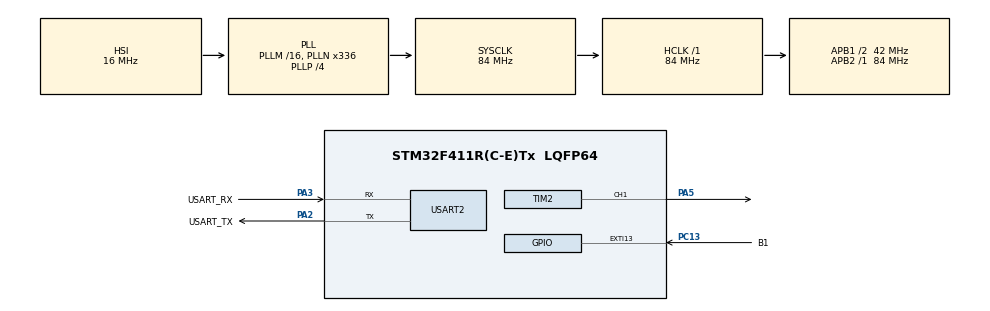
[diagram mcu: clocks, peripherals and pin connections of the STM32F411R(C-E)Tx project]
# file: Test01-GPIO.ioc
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Mcu.Family=STM32F4
Mcu.Name=STM32F411R(C-E)Tx
Mcu.Package=LQFP64
NVIC.EXTI15_10_IRQn=true\:0\:0\:false\:false\:true\:true\:true\:true
NVIC.PriorityGroup=NVIC_PRIORITYGROUP_0
NVIC.TIM3_IRQn=true\:0\:0\:false\:false\:true\:true\:true\:true
PA13.GPIO_Label=TMS
PA13.Mode=Serial_Wire
PA13.Signal=SYS_JTMS-SWDIO
PA14.GPIO_Label=TCK
PA14.Mode=Serial_Wire
PA14.Signal=SYS_JTCK-SWCLK
PA2.GPIO_Label=USART_TX
PA2.Mode=Asynchronous
PA2.Signal=USART2_TX
PA3.GPIO_Label=USART_RX
PA3.Mode=Asynchronous
PA3.Signal=USART2_RX
PA5.Signal=S_TIM2_CH1_ETR
PB3.GPIO_Label=SWO
PB3.Signal=SYS_JTDO-SWO
PC13-ANTI_TAMP.GPIO_Label=B1
PC13-ANTI_TAMP.GPIO_ModeDefaultEXTI=GPIO_MODE_IT_RISING_FALLING
PC13-ANTI_TAMP.Signal=GPXTI13
PC14-OSC32_IN.Mode=LSE-External-Oscillator
PC14-OSC32_IN.Signal=RCC_OSC32_IN
PC15-OSC32_OUT.Mode=LSE-External-Oscillator
PC15-OSC32_OUT.Signal=RCC_OSC32_OUT
PH0\ -\ OSC_IN.Mode=HSE-External-Clock-Source
PH0\ -\ OSC_IN.Signal=RCC_OSC_IN
PH1\ -\ OSC_OUT.Mode=HSE-External-Clock-Source
PH1\ -\ OSC_OUT.Signal=RCC_OSC_OUT
ProjectManager.HeapSize=0x200
ProjectManager.StackSize=0x400
ProjectManager.TargetToolchain=STM32CubeIDE
RCC.48MHZClocksFreq_Value=84000000
RCC.AHBFreq_Value=84000000
RCC.APB1CLKDivider=RCC_HCLK_DIV2
RCC.APB1Freq_Value=42000000
RCC.APB1TimFreq_Value=84000000
RCC.APB2Freq_Value=84000000
RCC.APB2TimFreq_Value=84000000
RCC.CortexFreq_Value=84000000
RCC.FLatency-AdvancedSettings=FLASH_LATENCY_2
RCC.HCLKFreq_Value=84000000
RCC.HSE_VALUE=8000000
RCC.HSI_VALUE=16000000
RCC.PLLN=336
RCC.PLLP=RCC_PLLP_DIV4
RCC.SYSCLKFreq_VALUE=84000000
RCC.SYSCLKSource=RCC_SYSCLKSOURCE_PLLCLK
RCC.VCOOutputFreq_Value=336000000
SH.S_TIM2_CH1_ETR.0=TIM2_CH1,PWM Generation1 CH1
TIM2.Channel-PWM\ Generation1\ CH1=TIM_CHANNEL_1
TIM2.Period=1000-1
TIM2.Prescaler=84-1
TIM3.Period=5000-1
TIM3.Prescaler=8400-1
TIM5.Period=4294967295
TIM5.Prescaler=84-1
USART2.VirtualMode=VM_ASYNC
VP_TIM3_VS_ClockSourceINT.Mode=Internal
VP_TIM5_VS_ClockSourceINT.Mode=Internal
board=NUCLEO-F411RE

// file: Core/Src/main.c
/* USER CODE BEGIN Header */
/**
  ******************************************************************************
  * @file           : main.c
  * @brief          : Main program body
  ******************************************************************************
  * @attention
  *
  * Copyright (c) 2023 STMicroelectronics.
  * All rights reserved.
  *
  * This software is licensed under terms that can be found in the LICENSE file
  * in the root directory of this software component.
  * If no LICENSE file comes with this software, it is provided AS-IS.
  *
  ******************************************************************************
  */
/* USER CODE END Header */
#include "main.h"

TIM_HandleTypeDef htim2;
TIM_HandleTypeDef htim3;
TIM_HandleTypeDef htim5;

UART_HandleTypeDef huart2;

void SystemClock_Config(void);
static void MX_GPIO_Init(void);
static void MX_USART2_UART_Init(void);
static void MX_TIM3_Init(void);
static void MX_TIM5_Init(void);
static void MX_TIM2_Init(void);

/* USER CODE BEGIN 0 */
int val = 0;
int gap = 100;
void HAL_GPIO_EXTI_Callback(uint16_t GPIO_Pin)
{
  if(val++ > 10) val = 0;
}
void myDelay(int interval)  // microsecond delay, interval: microsecond
{
  volatile int start = htim5.Instance->CNT;
  while(1)
  {
    volatile int cur= htim5.Instance->CNT;
    if(cur - start > interval) return;
  }
}
int __io_putchar(int ch)
{
  HAL_UART_Transmit(&huart2, &ch, 1, 10);
  return ch;
}
//int __io_getchar(void);
int cnt = 0;
void HAL_TIM_PeriodElapsedCallback(TIM_HandleTypeDef *htim)
{
//  HAL_GPIO_TogglePin(LD2_GPIO_Port, LD2_Pin);
  printf("\033[10;30HTimer3...%d\n", cnt++);
}
/* USER CODE END 0 */

int main(void)
{

  /* MCU Configuration--------------------------------------------------------*/

  /* Reset of all peripherals, Initializes the Flash interface and the Systick. */
  HAL_Init();

  /* Configure the system clock */
  SystemClock_Config();

  /* Initialize all configured peripherals */
  MX_GPIO_Init();
  MX_USART2_UART_Init();
  MX_TIM3_Init();
  MX_TIM5_Init();
  MX_TIM2_Init();
  /* USER CODE BEGIN 2 */
  printf("\033[0JProgram started.......!\r\n");

//  HAL_TIM_Base_Start_IT(&htim3);
  HAL_TIM_Base_Start(&htim5);
  HAL_TIM_PWM_Start(&htim2, TIM_CHANNEL_1);
  /* USER CODE END 2 */

  /* Infinite loop */
  while (1)
  {

    /* USER CODE BEGIN 3 */
    htim2.Instance->CCR1 = val * gap;
  }
  /* USER CODE END 3 */
}

void SystemClock_Config(void)
{
  RCC_OscInitTypeDef RCC_OscInitStruct = {0};
  RCC_ClkInitTypeDef RCC_ClkInitStruct = {0};

  /** Configure the main internal regulator output voltage
  */
  __HAL_RCC_PWR_CLK_ENABLE();
  __HAL_PWR_VOLTAGESCALING_CONFIG(PWR_REGULATOR_VOLTAGE_SCALE1);

  /** Initializes the RCC Oscillators according to the specified parameters
  * in the RCC_OscInitTypeDef structure.
  */
  RCC_OscInitStruct.OscillatorType = RCC_OSCILLATORTYPE_HSI;
  RCC_OscInitStruct.HSIState = RCC_HSI_ON;
  RCC_OscInitStruct.HSICalibrationValue = RCC_HSICALIBRATION_DEFAULT;
  RCC_OscInitStruct.PLL.PLLState = RCC_PLL_ON;
  RCC_OscInitStruct.PLL.PLLSource = RCC_PLLSOURCE_HSI;
  RCC_OscInitStruct.PLL.PLLM = 16;
  RCC_OscInitStruct.PLL.PLLN = 336;
  RCC_OscInitStruct.PLL.PLLP = RCC_PLLP_DIV4;
  RCC_OscInitStruct.PLL.PLLQ = 4;
  if (HAL_RCC_OscConfig(&RCC_OscInitStruct) != HAL_OK)
  {
    Error_Handler();
  }

  /** Initializes the CPU, AHB and APB buses clocks
  */
  RCC_ClkInitStruct.ClockType = RCC_CLOCKTYPE_HCLK|RCC_CLOCKTYPE_SYSCLK
                              |RCC_CLOCKTYPE_PCLK1|RCC_CLOCKTYPE_PCLK2;
  RCC_ClkInitStruct.SYSCLKSource = RCC_SYSCLKSOURCE_PLLCLK;
  RCC_ClkInitStruct.AHBCLKDivider = RCC_SYSCLK_DIV1;
  RCC_ClkInitStruct.APB1CLKDivider = RCC_HCLK_DIV2;
  RCC_ClkInitStruct.APB2CLKDivider = RCC_HCLK_DIV1;

  if (HAL_RCC_ClockConfig(&RCC_ClkInitStruct, FLASH_LATENCY_2) != HAL_OK)
  {
    Error_Handler();
  }
}

static void MX_TIM2_Init(void)
{

  TIM_MasterConfigTypeDef sMasterConfig = {0};
  TIM_OC_InitTypeDef sConfigOC = {0};

  htim2.Instance = TIM2;
  htim2.Init.Prescaler = 84-1;
  htim2.Init.CounterMode = TIM_COUNTERMODE_UP;
  htim2.Init.Period = 1000-1;
  htim2.Init.ClockDivision = TIM_CLOCKDIVISION_DIV1;
  htim2.Init.AutoReloadPreload = TIM_AUTORELOAD_PRELOAD_DISABLE;
  if (HAL_TIM_PWM_Init(&htim2) != HAL_OK)
  {
    Error_Handler();
  }
  sMasterConfig.MasterOutputTrigger = TIM_TRGO_RESET;
  sMasterConfig.MasterSlaveMode = TIM_MASTERSLAVEMODE_DISABLE;
  if (HAL_TIMEx_MasterConfigSynchronization(&htim2, &sMasterConfig) != HAL_OK)
  {
    Error_Handler();
  }
  sConfigOC.OCMode = TIM_OCMODE_PWM1;
  sConfigOC.Pulse = 0;
  sConfigOC.OCPolarity = TIM_OCPOLARITY_HIGH;
  sConfigOC.OCFastMode = TIM_OCFAST_DISABLE;
  if (HAL_TIM_PWM_ConfigChannel(&htim2, &sConfigOC, TIM_CHANNEL_1) != HAL_OK)
  {
    Error_Handler();
  }
  HAL_TIM_MspPostInit(&htim2);

}

static void MX_TIM3_Init(void)
{

  TIM_ClockConfigTypeDef sClockSourceConfig = {0};
  TIM_MasterConfigTypeDef sMasterConfig = {0};

  htim3.Instance = TIM3;
  htim3.Init.Prescaler = 8400-1;
  htim3.Init.CounterMode = TIM_COUNTERMODE_UP;
  htim3.Init.Period = 5000-1;
  htim3.Init.ClockDivision = TIM_CLOCKDIVISION_DIV1;
  htim3.Init.AutoReloadPreload = TIM_AUTORELOAD_PRELOAD_DISABLE;
  if (HAL_TIM_Base_Init(&htim3) != HAL_OK)
  {
    Error_Handler();
  }
  sClockSourceConfig.ClockSource = TIM_CLOCKSOURCE_INTERNAL;
  if (HAL_TIM_ConfigClockSource(&htim3, &sClockSourceConfig) != HAL_OK)
  {
    Error_Handler();
  }
  sMasterConfig.MasterOutputTrigger = TIM_TRGO_RESET;
  sMasterConfig.MasterSlaveMode = TIM_MASTERSLAVEMODE_DISABLE;
  if (HAL_TIMEx_MasterConfigSynchronization(&htim3, &sMasterConfig) != HAL_OK)
  {
    Error_Handler();
  }

}

static void MX_TIM5_Init(void)
{

  TIM_ClockConfigTypeDef sClockSourceConfig = {0};
  TIM_MasterConfigTypeDef sMasterConfig = {0};

  htim5.Instance = TIM5;
  htim5.Init.Prescaler = 84-1;
  htim5.Init.CounterMode = TIM_COUNTERMODE_UP;
  htim5.Init.Period = 4294967295;
  htim5.Init.ClockDivision = TIM_CLOCKDIVISION_DIV1;
  htim5.Init.AutoReloadPreload = TIM_AUTORELOAD_PRELOAD_DISABLE;
  if (HAL_TIM_Base_Init(&htim5) != HAL_OK)
  {
    Error_Handler();
  }
  sClockSourceConfig.ClockSource = TIM_CLOCKSOURCE_INTERNAL;
  if (HAL_TIM_ConfigClockSource(&htim5, &sClockSourceConfig) != HAL_OK)
  {
    Error_Handler();
  }
  sMasterConfig.MasterOutputTrigger = TIM_TRGO_RESET;
  sMasterConfig.MasterSlaveMode = TIM_MASTERSLAVEMODE_DISABLE;
  if (HAL_TIMEx_MasterConfigSynchronization(&htim5, &sMasterConfig) != HAL_OK)
  {
    Error_Handler();
  }

}

static void MX_USART2_UART_Init(void)
{

  huart2.Instance = USART2;
  huart2.Init.BaudRate = 115200;
  huart2.Init.WordLength = UART_WORDLENGTH_8B;
  huart2.Init.StopBits = UART_STOPBITS_1;
  huart2.Init.Parity = UART_PARITY_NONE;
  huart2.Init.Mode = UART_MODE_TX_RX;
  huart2.Init.HwFlowCtl = UART_HWCONTROL_NONE;
  huart2.Init.OverSampling = UART_OVERSAMPLING_16;
  if (HAL_UART_Init(&huart2) != HAL_OK)
  {
    Error_Handler();
  }

}

static void MX_GPIO_Init(void)
{
  GPIO_InitTypeDef GPIO_InitStruct = {0};

  /* GPIO Ports Clock Enable */
  __HAL_RCC_GPIOC_CLK_ENABLE();
  __HAL_RCC_GPIOH_CLK_ENABLE();
  __HAL_RCC_GPIOA_CLK_ENABLE();
  __HAL_RCC_GPIOB_CLK_ENABLE();

  /*Configure GPIO pin : B1_Pin */
  GPIO_InitStruct.Pin = B1_Pin;
  GPIO_InitStruct.Mode = GPIO_MODE_IT_RISING_FALLING;
  GPIO_InitStruct.Pull = GPIO_NOPULL;
  HAL_GPIO_Init(B1_GPIO_Port, &GPIO_InitStruct);

  /* EXTI interrupt init*/
  HAL_NVIC_SetPriority(EXTI15_10_IRQn, 0, 0);
  HAL_NVIC_EnableIRQ(EXTI15_10_IRQn);

}

void Error_Handler(void)
{
  __disable_irq();
  while (1)
  {
  }
}
